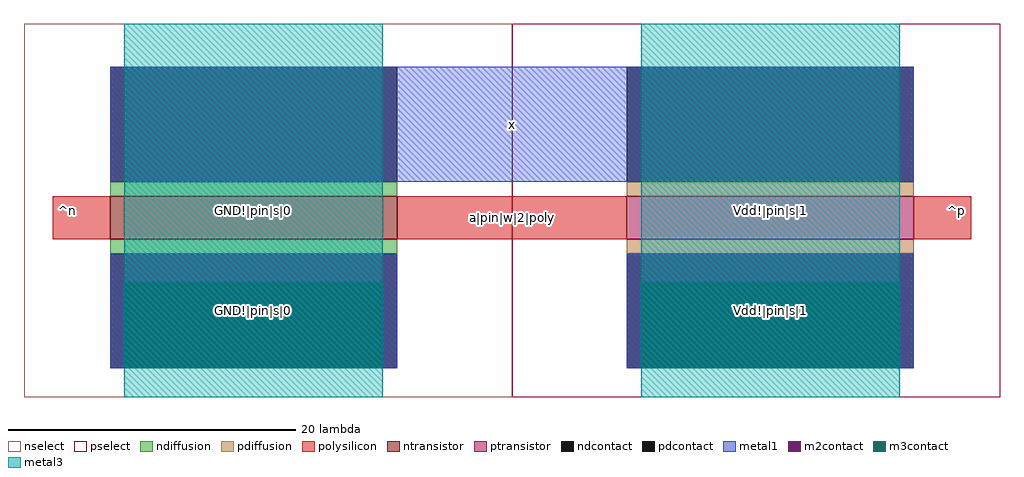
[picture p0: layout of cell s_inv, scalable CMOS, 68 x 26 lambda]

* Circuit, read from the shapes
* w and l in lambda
.subckt s_inv GND!|pin|s|0 Vdd!|pin|s|1 a|pin|w|2|poly x
M1 x a|pin|w|2|poly GND!|pin|s|0 VSUBS nfet w=20 l=3
M2 x a|pin|w|2|poly Vdd!|pin|s|1 NWELL pfet w=20 l=3
.ends

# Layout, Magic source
magic
tech scmos
<< nselect >>
rect -34 424 0 450
<< pselect >>
rect 0 424 34 450
<< ndiffusion >>
rect -28 438 -8 439
rect -28 434 -8 435
<< pdiffusion >>
rect 8 438 28 439
rect 8 434 28 435
<< ntransistor >>
rect -28 435 -8 438
<< ptransistor >>
rect 8 435 28 438
<< polysilicon >>
rect -32 435 -28 438
rect -8 435 8 438
rect 28 435 32 438
<< ndcontact >>
rect -28 439 -8 447
rect -28 426 -8 434
<< pdcontact >>
rect 8 439 28 447
rect 8 426 28 434
<< metal1 >>
rect -28 439 28 447
rect -28 432 -8 434
rect -28 426 -27 432
rect -9 426 -8 432
rect 8 432 28 434
rect 8 426 9 432
rect 27 426 28 432
<< m2contact >>
rect -27 426 -9 432
rect 9 426 27 432
<< m3contact >>
rect -27 426 -9 432
rect 9 426 27 432
<< metal3 >>
rect -27 424 -9 450
rect 9 424 27 450
<< labels >>
rlabel metal1 -28 439 28 447 1 x
rlabel nselect -34 424 -28 450 7 ^n
rlabel pselect 28 424 34 450 3 ^p
rlabel metal3 -27 424 -9 450 1 GND!|pin|s|0
rlabel metal1 -28 426 -8 434 1 GND!|pin|s|0
rlabel metal3 9 424 27 450 1 Vdd!|pin|s|1
rlabel metal1 8 426 28 434 1 Vdd!|pin|s|1
rlabel polysilicon -32 435 -28 438 1 a|pin|w|2|poly
rlabel polysilicon -2 435 2 438 1 a|pin|w|2|poly
rlabel polysilicon 28 435 32 438 1 a|pin|w|2|poly
<< end >>
